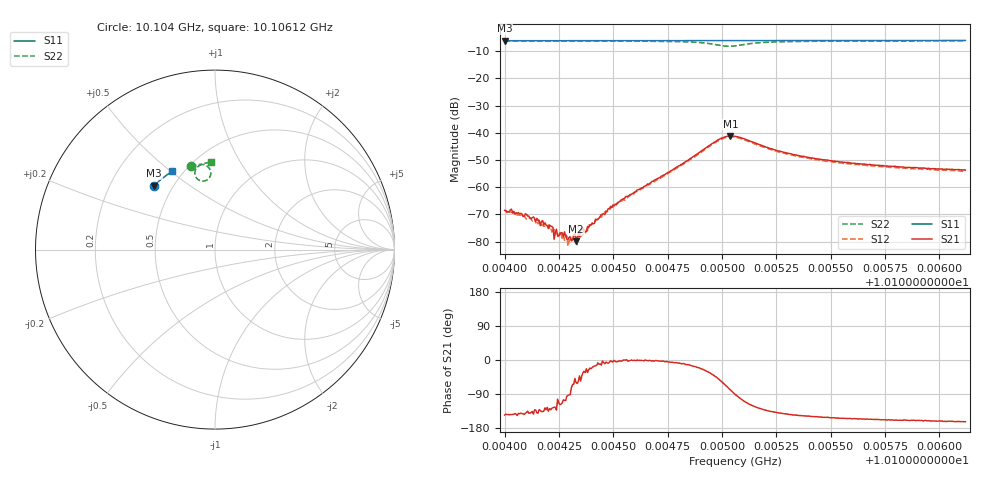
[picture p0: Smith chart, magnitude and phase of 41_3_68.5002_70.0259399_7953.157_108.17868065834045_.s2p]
#  HZ  S  RI  R  50.00
! Rohde & Schwarz Vector Network Analyzer
! Rohde-Schwarz,ZNB20-2Port,1311601062101988,3.16
! Created: UTC 3/20/2024, 4:50:21 PM
! freq[Hz]  re:S11  im:S11  re:S21  im:S21  re:S12  im:S12  re:S22  im:S22
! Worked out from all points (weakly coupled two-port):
!   401 points, 10.104 GHz to 10.10612 GHz, reference 50 ohm
!   highest |S21| = -41.16 dB at 10.10504 GHz (marker M1); lowest = -79.9 dB at 10.10433 GHz (marker M2)
!   lowest |S11| = -6.2 dB at 10.104 GHz (marker M3), VSWR 2.93, Z = 19.8 + j18.6 ohm
!   |S11| at or under -10 dB: nowhere
!   |S22| runs from -8.2 to -6.2 dB; largest |S21 - S12| = 0.00088
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1.0104e10  -0.3385 0.3561  -0.000309 -0.000213  -0.00027 -0.000254  -0.1346 0.4645
1.0104032e10  -0.3371 0.3575  -0.00032 -0.000231  -0.000246 -0.000238  -0.1326 0.4653
1.0104138e10  -0.3326 0.3622  -0.000178 -0.000201  -0.0002 -0.000169  -0.1249 0.4675
1.0104212e10  -0.3294 0.3654  -0.000127 -0.000145  -0.000104 -0.000151  -0.1193 0.4691
1.0104239e10  -0.328 0.3664  -0.000114 -0.000126  -6.37e-05 -0.000122  -0.1172 0.4695
1.0104265e10  -0.3269 0.3677  -5.7e-05 -0.000133  -1.98e-05 -0.000114  -0.1153 0.4701
1.0104286e10  -0.3261 0.3685  -1.03e-05 -0.000111  -2.05e-06 -0.000133  -0.1135 0.4705
1.0104302e10  -0.3254 0.3693  -3.8e-06 -0.000122  3.82e-05 -0.000115  -0.1122 0.4708
1.0104313e10  -0.3249 0.3696  4.66e-05 -9.93e-05  2.72e-05 -0.000107  -0.1115 0.471
1.0104329e10  -0.3242 0.3704  5.21e-05 -8.64e-05  5.68e-05 -0.000105  -0.1101 0.4712
1.0104344e10  -0.3235 0.371  9.1e-05 -8.27e-05  8.91e-05 -7.72e-05  -0.1088 0.4717
1.0104355e10  -0.323 0.3715  0.000122 -0.000107  0.000113 -6.3e-05  -0.1079 0.4718
1.0104376e10  -0.322 0.3724  0.000141 -6.08e-05  0.000129 -6.11e-05  -0.1063 0.4721
1.0104498e10  -0.3166 0.3774  0.000471 -4.32e-05  0.000439 -1.68e-05  -0.0952 0.4741
1.010471e10  -0.307 0.3859  0.00148 -7.43e-05  0.00145 4.28e-05  -0.0704 0.4745
1.0104975e10  -0.2944 0.396  0.00499 -0.0051  0.00522 -0.00446  -0.0253 0.4131
1.0105038e10  -0.2915 0.3979  0.00169 -0.00859  0.00235 -0.00807  -0.0659 0.3817
1.010506e10  -0.2906 0.3989  -7.42e-05 -0.00862  0.000726 -0.00829  -0.0843 0.3848
1.010525e10  -0.2818 0.4062  -0.00355 -0.00316  -0.00315 -0.00333  -0.1007 0.4567
1.0105415e10  -0.2738 0.4123  -0.00296 -0.00177  -0.00268 -0.00192  -0.0802 0.4727
1.010577e10  -0.256 0.4246  -0.00227 -0.000903  -0.00205 -0.00106  -0.0481 0.4832
1.0106119e10  -0.238 0.436  -0.00197 -0.000605  -0.00185 -0.000769  -0.022 0.4871
